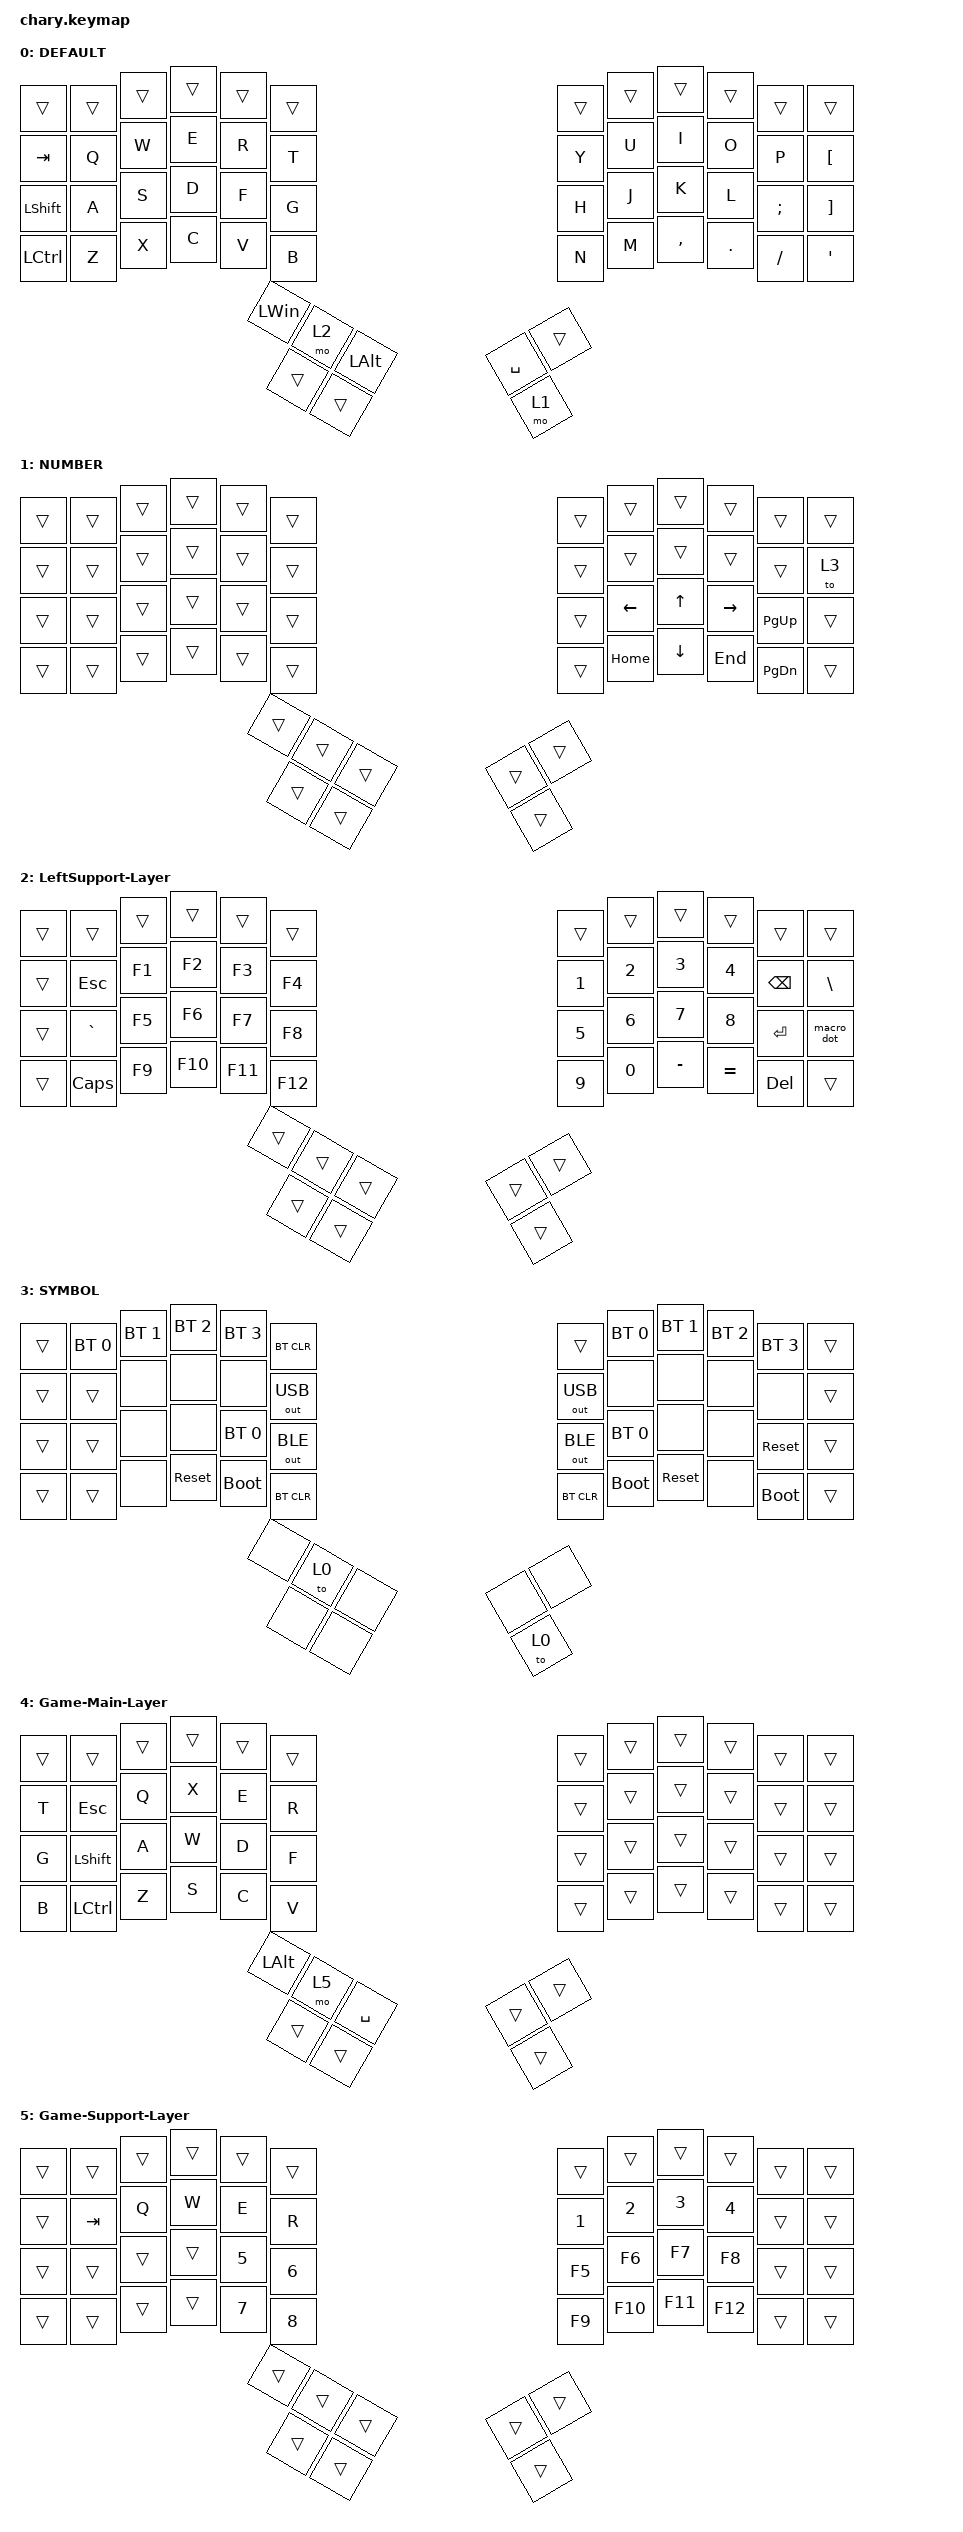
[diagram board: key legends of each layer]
#include <dt-bindings/zmk/mouse.h>
#include <behaviors.dtsi>
#include <dt-bindings/zmk/bt.h>
#include <dt-bindings/zmk/keys.h>
#include <dt-bindings/zmk/outputs.h>

#define DEFAULT 0
#define NUMBER  1
#define SYMBOL  2
#define HOTKEY  3

/ {
    chosen {
        zmk,matrix-transform = &default_transform;
    };
};

#define AS(keycode) &as LS(keycode) keycode

/ {
    macros {
        macro_email_q: macro_email_q {
            // 714448168@qq.com

            label = "MACRO_EMAIL_QQ";
            compatible = "zmk,behavior-macro";
            #binding-cells = <0>;
            bindings = <&kp N7 &kp N1 &kp N4 &kp N4 &kp N4 &kp N8 &kp N1 &kp N6 &kp N8 &kp AT &kp Q &kp Q &kp DOT &kp C &kp O &kp M>;
        };

        GUANJIANCI: GUANJIANCI {
            compatible = "zmk,behavior-macro";
            label = "new_macro";
            #binding-cells = <0>;
            bindings = <&kp LSHIFT &kp LBKT &kp RBKT &kp LEFT &kp LSHIFT>;
        };

        macro_dot: macro_dot {
            compatible = "zmk,behavior-macro";
            #binding-cells = <0>;
            wait-ms = <5>;
            tap-ms = <5>;
            bindings =
                <&macro_press>,
                <&kp LALT>,
                <&macro_tap>,
                <&kp KP_N4 &kp KP_N6>,
                <&macro_release>,
                <&kp LALT>;
        };

        Macro_comma: macro_comma {
            compatible = "zmk,behavior-macro";
            #binding-cells = <0>;
            wait-ms = <5>;
            tap-ms = <5>;
            bindings = <&kp COMMA>;
        };

        Macro_question: macro_question {
            compatible = "zmk,behavior-macro";
            #binding-cells = <0>;
            wait-ms = <5>;
            tap-ms = <5>;
            bindings = <&kp QUESTION>;
        };

        altF4_macro: altF4_macro {
            compatible = "zmk,behavior-macro";
            #binding-cells = <0>;
            bindings = <&none>;
            label = "ALTF4_MACRO";
        };
    };

    combos {
        compatible = "zmk,combos";

        Delete {
            bindings = <&kp DELETE>;
            key-positions = <39 40>;
        };

        Enter {
            bindings = <&kp ENTER>;
            key-positions = <27 28>;
        };

        ToWork {
            bindings = <&to 0>;
            key-positions = <28 29>;
        };

        ToGame {
            bindings = <&to 4>;
            key-positions = <40 41>;
        };

        altF4 {
            bindings = <&kp LA(F4)>;
            key-positions = <27 26>;
            layers = <0 1 2 3>;
        };
    };

    keymap {
        compatible = "zmk,keymap";

        Main-Layer {
            label = "DEFAULT";
            bindings = <
&trans            &trans        &trans  &trans        &trans  &trans  &trans  &trans  &trans     &trans   &trans    &trans
&kp TAB           &kp Q         &kp W   &kp E         &kp R   &kp T   &kp Y   &kp U   &kp I      &kp O    &kp P     &kp LEFT_BRACKET
&kp LEFT_SHIFT    &kp A         &kp S   &kp D         &kp F   &kp G   &kp H   &kp J   &kp K      &kp L    &kp SEMI  &kp RIGHT_BRACKET
&kp LEFT_CONTROL  &kp Z         &kp X   &kp C         &kp V   &kp B   &kp N   &kp M   &kp COMMA  &kp DOT  &kp FSLH  &kp SQT
                  &kp LEFT_WIN  &mo 2   &kp LEFT_ALT  &trans  &trans          &trans  &kp SPACE  &mo 1
            >;
        };

        RightSupport-Layer {
            label = "NUMBER";
            bindings = <
&trans  &trans  &trans  &trans  &trans  &trans  &trans  &trans          &trans          &trans     &trans         &trans
&trans  &trans  &trans  &trans  &trans  &trans  &trans  &trans          &trans          &trans     &trans         &to 3
&trans  &trans  &trans  &trans  &trans  &trans  &trans  &kp LEFT_ARROW  &kp UP          &kp RIGHT  &kp PAGE_UP    &trans
&trans  &trans  &trans  &trans  &trans  &trans  &trans  &kp HOME        &kp DOWN_ARROW  &kp END    &kp PAGE_DOWN  &trans
        &trans  &trans  &trans  &trans  &trans          &trans          &trans          &trans
            >;
        };

        LeftSupport-Layer {
            bindings = <
&trans  &trans        &trans  &trans   &trans   &trans   &trans        &trans        &trans        &trans        &trans         &trans
&trans  &kp ESCAPE    &kp F1  &kp F2   &kp F3   &kp F4   &kp NUMBER_1  &kp NUMBER_2  &kp NUMBER_3  &kp NUMBER_4  &kp BACKSPACE  &kp BACKSLASH
&trans  &kp GRAVE     &kp F5  &kp F6   &kp F7   &kp F8   &kp N5        &kp NUMBER_6  &kp N7        &kp N8        &kp ENTER      &macro_dot
&trans  &kp CAPSLOCK  &kp F9  &kp F10  &kp F11  &kp F12  &kp N9        &kp N0        &kp MINUS     &kp EQUAL     &kp DELETE     &trans
        &trans        &trans  &trans   &trans   &trans                 &trans        &trans        &trans
            >;
        };

        Functional-Layer {
            label = "SYMBOL";
            bindings = <
&trans  &bt BT_SEL 0  &bt BT_SEL 1  &bt BT_SEL 2  &bt BT_SEL 3  &bt BT_CLR    &trans        &bt BT_SEL 0  &bt BT_SEL 1  &bt BT_SEL 2  &bt BT_SEL 3  &trans
&trans  &trans        &none         &none         &none         &out OUT_USB  &out OUT_USB  &none         &none         &none         &none         &trans
&trans  &trans        &none         &none         &bt BT_SEL 0  &out OUT_BLE  &out OUT_BLE  &bt BT_SEL 0  &none         &none         &sys_reset    &trans
&trans  &trans        &none         &sys_reset    &bootloader   &bt BT_CLR    &bt BT_CLR    &bootloader   &sys_reset    &none         &bootloader   &trans
        &none         &to 0         &none         &none         &none                       &none         &none         &to 0
            >;
        };

        Game-Main-Layer {
            bindings = <
&trans  &trans            &trans  &trans     &trans  &trans  &trans  &trans  &trans  &trans  &trans  &trans
&kp T   &kp ESCAPE        &kp Q   &kp X      &kp E   &kp R   &trans  &trans  &trans  &trans  &trans  &trans
&kp G   &kp LEFT_SHIFT    &kp A   &kp W      &kp D   &kp F   &trans  &trans  &trans  &trans  &trans  &trans
&kp B   &kp LEFT_CONTROL  &kp Z   &kp S      &kp C   &kp V   &trans  &trans  &trans  &trans  &trans  &trans
        &kp LEFT_ALT      &mo 5   &kp SPACE  &trans  &trans          &trans  &trans  &trans
            >;
        };

        Game-Support-Layer {
            bindings = <
&trans  &trans   &trans  &trans  &trans        &trans        &trans  &trans   &trans   &trans   &trans  &trans
&trans  &kp TAB  &kp Q  &kp W  &kp E  &kp R  &kp NUMBER_1  &kp NUMBER_2  &kp NUMBER_3  &kp NUMBER_4  &trans  &trans
&trans  &trans   &trans  &trans  &kp NUMBER_5  &kp NUMBER_6  &kp F5  &kp F6   &kp F7   &kp F8   &trans  &trans
&trans  &trans   &trans  &trans  &kp NUMBER_7  &kp NUMBER_8  &kp F9  &kp F10  &kp F11  &kp F12  &trans  &trans
        &trans   &trans  &trans  &trans        &trans                &trans   &trans   &trans
            >;
        };
    };
};
